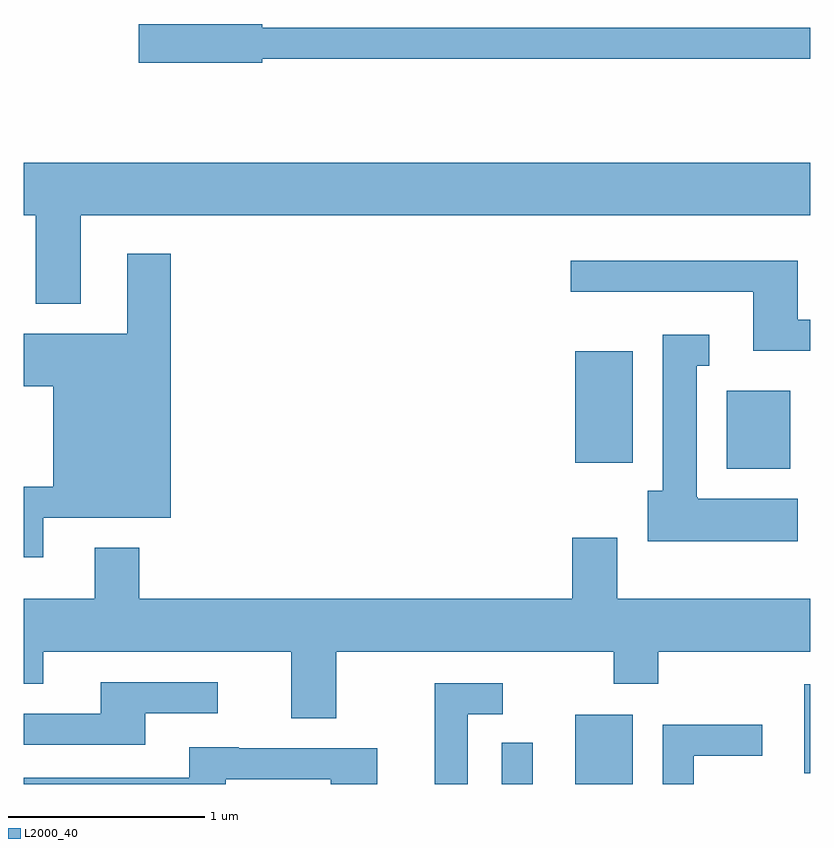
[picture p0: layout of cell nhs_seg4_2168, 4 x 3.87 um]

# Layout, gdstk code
import gdstk
lib = gdstk.Library(unit=1e-6, precision=1e-09)
def R(c, l, rs):  # rectangles x0, y0, x1, y1
    for r in rs: c.add(gdstk.rectangle(r[:2], r[2:], *l))
def P(c, l, *ps):  # polygons
    for p in ps: c.add(gdstk.Polygon(p, *l))
L2000_40 = (2000, 40)

nhs_seg4_2168 = lib.new_cell('nhs_seg4_2168')
R(nhs_seg4_2168, L2000_40, [(250.041,1373.982,250.199,1374.193), (250.416,1373.982,250.709,1374.334), (251.581,1374.036,251.611,1374.489), (251.186,1375.586,251.509,1375.984), (250.416,1375.616,250.709,1376.184)])
P(nhs_seg4_2168, L2000_40, [(248.824,1377.671),(251.611,1377.671),(251.611,1377.829),(248.824,1377.829),(248.824,1377.849),(248.196,1377.849),(248.196,1377.651),(248.824,1377.651)],
  [(247.899,1376.876),(251.611,1376.876),(251.611,1377.144),(247.611,1377.144),(247.611,1376.876),(247.671,1376.876),(247.671,1376.426),(247.899,1376.426)],
  [(247.709,1375.336),(248.359,1375.336),(248.359,1376.679),(248.136,1376.679),(248.136,1376.274),(247.611,1376.274),(247.611,1376.006),(247.761,1376.006),(247.761,1375.494),(247.611,1375.494),(247.611,1375.136),(247.709,1375.136)],
  [(251.611,1376.344),(251.549,1376.344),(251.549,1376.644),(250.393,1376.644),(250.393,1376.486),(251.321,1376.486),(251.321,1376.186),(251.611,1376.186)],
  [(251.549,1375.434),(251.04,1375.434),(251.04,1375.44),(251.034,1375.44),(251.034,1376.111),(251.098,1376.111),(251.098,1376.269),(250.861,1376.269),(250.861,1375.474),(250.786,1375.474),(250.786,1375.216),(251.549,1375.216)],
  [(249.199,1374.656),(250.611,1374.656),(250.611,1374.491),(250.839,1374.491),(250.839,1374.656),(251.611,1374.656),(251.611,1374.924),(250.629,1374.924),(250.629,1375.234),(250.401,1375.234),(250.401,1374.924),(248.199,1374.924),(248.199,1375.184),(247.971,1375.184),(247.971,1374.924),(247.611,1374.924),(247.611,1374.491),(247.709,1374.491),(247.709,1374.656),(248.971,1374.656),(248.971,1374.316),(249.199,1374.316)],
  [(248.229,1374.341),(248.598,1374.341),(248.598,1374.499),(248.001,1374.499),(248.001,1374.339),(247.611,1374.339),(247.611,1374.181),(248.229,1374.181)],
  [(249.869,1374.336),(250.048,1374.336),(250.048,1374.494),(249.701,1374.494),(249.701,1373.982),(249.869,1373.982)],
  [(251.019,1374.126),(251.368,1374.126),(251.368,1374.284),(250.861,1374.284),(250.861,1373.982),(251.019,1373.982)],
  [(248.639,1374.006),(249.171,1374.006),(249.171,1373.982),(249.409,1373.982),(249.409,1374.164),(248.705,1374.164),(248.705,1374.169),(248.451,1374.169),(248.451,1374.014),(247.611,1374.014),(247.611,1373.982),(248.639,1373.982)])

lib.write_gds('nhs_seg4_2168.gds')
